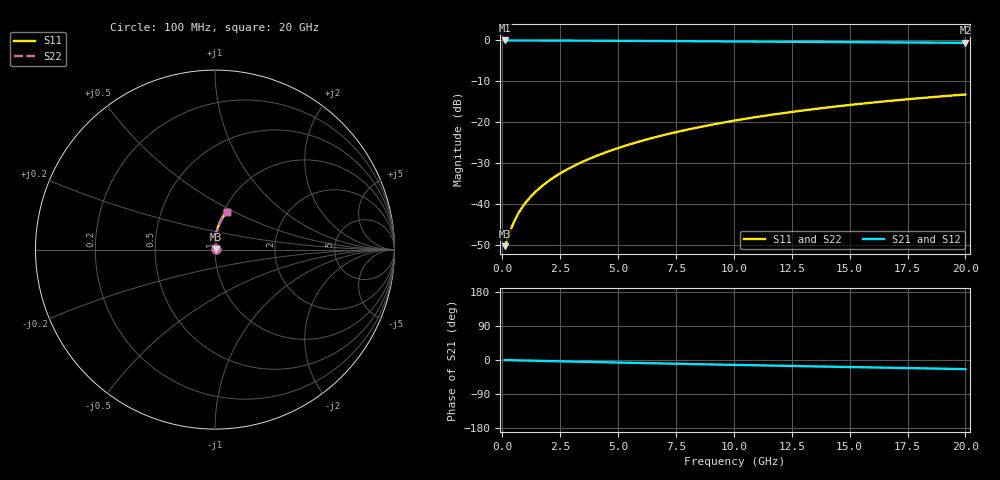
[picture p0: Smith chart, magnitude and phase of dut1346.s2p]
! Touchstone file exported from HFSS 2024.1.0
!  File:  C:/UserFiles/LocalFiles/RDL_TSV_Batchsim/temp_RDL_top_1346_1780366047.aedt
!  Generated:  10:09:45 AM Jun  2, 2026
!  Design:  RDL_top
!  Project:  temp_RDL_top_1346_1780366047
!  Setup:  Setup1
!  Solution:  Sweep
! Variables:
!  dtsv = 10.80580581um
!  hbump = 3um
!  htsv = 90.78um
!  ldown = 100um
!  lrdl = 343.05um
!  p = 40
!  p1 = 40.24um
!  rhole = 1um
!  t = 450um
!  tdown = 3.915915916um
!  trdl = 2.15um
!  wdown = 15.38538539um
!  wrdl = 22.6um
# GHz S MA R 50.000000
! Terminal data exported
! Port[1] = Box2_T1
! Port[2] = Box2_T2
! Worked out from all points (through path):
!   200 points, 100 MHz to 20 GHz, reference 50 ohm
!   highest |S21| = -0.03 dB at 100 MHz (marker M1); lowest = -0.6 dB at 20 GHz (marker M2)
!   group delay of S21, straight-line fit = 3.31 ps
!   lowest |S11| = -50.2 dB at 100 MHz (marker M3), VSWR 1.01, Z = 50.3 + j0.109 ohm
!   |S11| at or under -10 dB: start of sweep to end of sweep
!   |S22| runs from -50.2 to -13.2 dB; largest |S21 - S12| = 2.6e-15
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0.1  0.003073 20.6  0.9971 -0.1  0.9971 -0.1  0.003073 20.6
! Gamma 0 0 0 0
! Port Impedance 50 0 50 0
0.2  0.003618 36.4  0.997 -0.3  0.997 -0.3  0.003618 36.4
0.4  0.005177 53.9  0.9968 -0.6  0.9968 -0.6  0.005179 53.9
0.6  0.006908 62.2  0.9965 -0.9  0.9965 -0.9  0.00691 62.2
0.7  0.00778 64.9  0.9963 -1.0  0.9963 -1.0  0.007781 64.9
0.9  0.009516 68.8  0.9961 -1.3  0.9961 -1.3  0.009517 68.8
1.2  0.01211 72.9  0.9957 -1.7  0.9957 -1.7  0.01212 72.9
1.4  0.01386 74.9  0.9954 -2.0  0.9954 -2.0  0.01386 74.9
1.7  0.0165 77.3  0.995 -2.4  0.995 -2.4  0.0165 77.3
2.2  0.021 80.2  0.9942 -3.0  0.9942 -3.0  0.021 80.2
2.8  0.02656 82.5  0.9931 -3.8  0.9931 -3.8  0.02656 82.5
3.5  0.03328 84.3  0.9915 -4.8  0.9915 -4.8  0.03328 84.3
4.2  0.04024 85.4  0.9897 -5.7  0.9897 -5.7  0.04023 85.4
5  0.04846 86.2  0.9874 -6.7  0.9874 -6.7  0.04846 86.2
5.9  0.05803 86.5  0.9846 -7.9  0.9846 -7.9  0.05802 86.5
6.8  0.06789 86.5  0.9815 -9.0  0.9815 -9.0  0.06789 86.4
8.4  0.08598 85.7  0.9758 -11.0  0.9758 -11.0  0.08597 85.7
10.1  0.1057 84.3  0.9696 -13.0  0.9696 -13.0  0.1057 84.3
11.7  0.1244 82.7  0.9637 -14.9  0.9637 -14.9  0.1244 82.7
13.4  0.1442 80.8  0.9573 -16.8  0.9573 -16.8  0.1442 80.8
16.7  0.182 76.8  0.9451 -20.5  0.9451 -20.5  0.182 76.8
20  0.2184 72.8  0.9327 -24.0  0.9327 -24.0  0.2183 72.8
